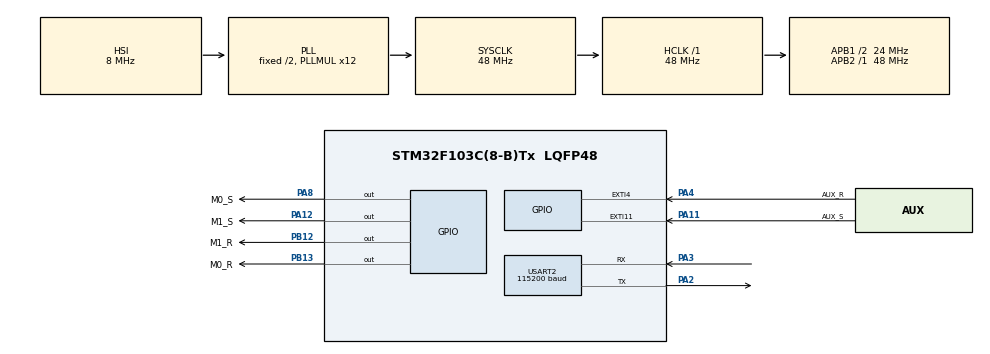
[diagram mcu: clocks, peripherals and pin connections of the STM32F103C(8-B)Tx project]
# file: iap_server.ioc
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Dma.Request0=USART2_RX
Dma.Request1=USART2_TX
Dma.USART2_RX.0.Direction=DMA_PERIPH_TO_MEMORY
Dma.USART2_RX.0.Instance=DMA1_Channel6
Dma.USART2_RX.0.MemDataAlignment=DMA_MDATAALIGN_BYTE
Dma.USART2_RX.0.MemInc=DMA_MINC_ENABLE
Dma.USART2_RX.0.Mode=DMA_CIRCULAR
Dma.USART2_RX.0.PeriphDataAlignment=DMA_PDATAALIGN_BYTE
Dma.USART2_RX.0.PeriphInc=DMA_PINC_DISABLE
Dma.USART2_RX.0.Priority=DMA_PRIORITY_LOW
Dma.USART2_TX.1.Direction=DMA_MEMORY_TO_PERIPH
Dma.USART2_TX.1.Instance=DMA1_Channel7
Dma.USART2_TX.1.MemDataAlignment=DMA_MDATAALIGN_BYTE
Dma.USART2_TX.1.MemInc=DMA_MINC_ENABLE
Dma.USART2_TX.1.Mode=DMA_NORMAL
Dma.USART2_TX.1.PeriphDataAlignment=DMA_PDATAALIGN_BYTE
Dma.USART2_TX.1.PeriphInc=DMA_PINC_DISABLE
Dma.USART2_TX.1.Priority=DMA_PRIORITY_LOW
IWDG.Prescaler=IWDG_PRESCALER_64
IWDG.Reload=2500
Mcu.Family=STM32F1
Mcu.Name=STM32F103C(8-B)Tx
Mcu.Package=LQFP48
NVIC.DMA1_Channel6_IRQn=true\:0\:0\:false\:false\:true\:false
NVIC.DMA1_Channel7_IRQn=true\:0\:0\:false\:false\:true\:false
NVIC.EXTI15_10_IRQn=true\:0\:0\:false\:false\:true\:true
NVIC.EXTI4_IRQn=true\:0\:0\:false\:false\:true\:true
NVIC.FLASH_IRQn=true\:0\:0\:false\:false\:true\:true
NVIC.PriorityGroup=NVIC_PRIORITYGROUP_4
NVIC.USART2_IRQn=true\:0\:0\:false\:false\:true\:true
PA11.GPIO_Label=AUX_S
PA11.Signal=GPXTI11
PA12.GPIO_Label=M1_S
PA12.Signal=GPIO_Output
PA13.Mode=Serial_Wire
PA13.Signal=SYS_JTMS-SWDIO
PA14.Mode=Serial_Wire
PA14.Signal=SYS_JTCK-SWCLK
PA2.Mode=Asynchronous
PA2.Signal=USART2_TX
PA3.Mode=Asynchronous
PA3.Signal=USART2_RX
PA4.GPIO_Label=AUX_R
PA4.Signal=GPXTI4
PA8.GPIO_Label=M0_S
PA8.Signal=GPIO_Output
PB12.GPIO_Label=M1_R
PB12.Signal=GPIO_Output
PB13.GPIO_Label=M0_R
PB13.Signal=GPIO_Output
ProjectManager.HeapSize=0x1000
ProjectManager.StackSize=0x400
ProjectManager.TargetToolchain=EWARM V7
RCC.AHBFreq_Value=48000000
RCC.APB1CLKDivider=RCC_HCLK_DIV2
RCC.APB1Freq_Value=24000000
RCC.APB1TimFreq_Value=48000000
RCC.APB2Freq_Value=48000000
RCC.APB2TimFreq_Value=48000000
RCC.HCLKFreq_Value=48000000
RCC.PLLMUL=RCC_PLL_MUL12
RCC.SYSCLKFreq_VALUE=48000000
RCC.SYSCLKSource=RCC_SYSCLKSOURCE_PLLCLK
RCC.USBFreq_Value=48000000
USART2.BaudRate=115200
USART2.VirtualMode=VM_ASYNC
VP_IWDG_VS_IWDG.Mode=IWDG_Activate
board=custom

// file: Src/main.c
/**
  ******************************************************************************
  * @file           : main.c
  * @brief          : Main program body
  ******************************************************************************
  ** This notice applies to any and all portions of this file
  * that are not between comment pairs USER CODE BEGIN and
  * USER CODE END. Other portions of this file, whether
  * inserted by the user or by software development tools
  * are owned by their respective copyright owners.
  *
  * COPYRIGHT(c) 2019 STMicroelectronics
  *
  * Redistribution and use in source and binary forms, with or without modification,
  * are permitted provided that the following conditions are met:
  *   1. Redistributions of source code must retain the above copyright notice,
  *      this list of conditions and the following disclaimer.
  *   2. Redistributions in binary form must reproduce the above copyright notice,
  *      this list of conditions and the following disclaimer in the documentation
  *      and/or other materials provided with the distribution.
  *   3. Neither the name of STMicroelectronics nor the names of its contributors
  *      may be used to endorse or promote products derived from this software
  *      without specific prior written permission.
  *
  * THIS SOFTWARE IS PROVIDED BY THE COPYRIGHT HOLDERS AND CONTRIBUTORS "AS IS"
  * AND ANY EXPRESS OR IMPLIED WARRANTIES, INCLUDING, BUT NOT LIMITED TO, THE
  * IMPLIED WARRANTIES OF MERCHANTABILITY AND FITNESS FOR A PARTICULAR PURPOSE ARE
  * DISCLAIMED. IN NO EVENT SHALL THE COPYRIGHT HOLDER OR CONTRIBUTORS BE LIABLE
  * FOR ANY DIRECT, INDIRECT, INCIDENTAL, SPECIAL, EXEMPLARY, OR CONSEQUENTIAL
  * DAMAGES (INCLUDING, BUT NOT LIMITED TO, PROCUREMENT OF SUBSTITUTE GOODS OR
  * SERVICES; LOSS OF USE, DATA, OR PROFITS; OR BUSINESS INTERRUPTION) HOWEVER
  * CAUSED AND ON ANY THEORY OF LIABILITY, WHETHER IN CONTRACT, STRICT LIABILITY,
  * OR TORT (INCLUDING NEGLIGENCE OR OTHERWISE) ARISING IN ANY WAY OUT OF THE USE
  * OF THIS SOFTWARE, EVEN IF ADVISED OF THE POSSIBILITY OF SUCH DAMAGE.
  *
  ******************************************************************************
  */
#include "main.h"
#include "stm32f1xx_hal.h"

/* USER CODE BEGIN Includes */
#include "flash_if.h"
#include "md5sum.h"
#include "string.h"
#include "stdlib.h"
/* USER CODE END Includes */

IWDG_HandleTypeDef hiwdg;

UART_HandleTypeDef huart2;
DMA_HandleTypeDef hdma_usart2_rx;
DMA_HandleTypeDef hdma_usart2_tx;

/* USER CODE BEGIN PV */
/* Private variables ---------------------------------------------------------*/
T_BootConfig g_stBootConfig;
pFunction Jump_To_Application;
uint32_t JumpAddress;

#define DMA_RX_BUFFER_SIZE          64
uint8_t DMA_RX_Buffer[DMA_RX_BUFFER_SIZE];

#define UART_BUFFER_SIZE            1280
uint8_t UART_Buffer[UART_BUFFER_SIZE];

uint32_t Uart_Read = 0;
volatile uint32_t Uart_Write = 0;

DMA_Event_t dma_uart_rx = {DMA_RX_BUFFER_SIZE, 0, 0};

#pragma pack(1)
typedef struct
{
  uint8_t resp_code;
  uint32_t identity;
  uint16_t endpointId;
  uint32_t data;
  uint8_t crc;
}T_Resp_Info;

#pragma pack()

typedef enum
{
  PHASE_CONFIG = 0,
  PHASE_DATA = 1

}T_Update_Phase;

uint32_t g_UpdatePhase = PHASE_CONFIG;

typedef struct
{
  uint8_t  ucBinMd5[MD5_LEN];
  uint8_t  ucFWVer[VERSION_LEN];
  uint32_t uiTotalLen;
}T_FWF103Head;

T_FWF103Head stFwF103Head;
uint32_t uiDlFinSize = 0;
uint32_t uiPerWriteSize = FLASH_PAGE_SIZE;
uint8_t md5_temp[MD5_LEN];
/* USER CODE END PV */

void SystemClock_Config(void);
static void MX_GPIO_Init(void);
static void MX_DMA_Init(void);
static void MX_USART2_UART_Init(void);
static void MX_IWDG_Init(void);

/* USER CODE BEGIN PFP */
/* Private function prototypes -----------------------------------------------*/

/* USER CODE END PFP */

/* USER CODE BEGIN 0 */
uint8_t crc8_chk_value(uint8_t *message, uint8_t len)
{
  uint8_t crc;
  uint8_t i;
  crc = 0;
  while(len--)
  {
    crc ^= *message++;
    for(i = 0;i < 8;i++)
    {
      if(crc & 0x01)
      {
        crc = (crc >> 1) ^ 0x8c;
      }
      else crc >>= 1;
    }
  }
  return crc;
}

void initUart2(void)
{
//  MX_GPIO_Init();
//  MX_DMA_Init();
//  MX_USART2_UART_Init();

  __HAL_UART_ENABLE_IT(&huart2, UART_IT_IDLE); // enable idle line interrupt
  __HAL_UART_CLEAR_IDLEFLAG(&huart2);

  HAL_UART_Receive_DMA(&huart2, DMA_RX_Buffer, DMA_RX_BUFFER_SIZE);

//  UART_Buffer = (uint8_t *)malloc(UART_BUFFER_SIZE);

  HAL_Delay(1000);
}
/* USER CODE END 0 */

int main(void)
{
  /* USER CODE BEGIN 1 */
  FLASH_If_Init();

  /* USER CODE END 1 */

  /* MCU Configuration----------------------------------------------------------*/

  /* Reset of all peripherals, Initializes the Flash interface and the Systick. */
  HAL_Init();

  /* Configure the system clock */
  SystemClock_Config();

  /* Initialize all configured peripherals */
  MX_GPIO_Init();
  MX_DMA_Init();
  MX_USART2_UART_Init();
  MX_IWDG_Init();
  /* USER CODE BEGIN 2 */

  memcpy(&g_stBootConfig, (char *)BOOT_CONFIG_ADDR, sizeof(T_BootConfig));

  if(TYPE_LOCAL == g_stBootConfig.ucBootType)
  {
    if(g_stBootConfig.ucTryTimes >= 10)
    {
      initUart2();

      HAL_IWDG_Refresh(&hiwdg);
      FLASH_If_Erase_App();

      T_Resp_Info stReqRec;

      stReqRec.resp_code = 132;
      stReqRec.endpointId = 0;
      stReqRec.identity = 0;
      stReqRec.data = 0;
      stReqRec.crc = crc8_chk_value((uint8_t *)&stReqRec, 11);

      while((&huart2)->gState != HAL_UART_STATE_READY);
      HAL_UART_Transmit_DMA(&huart2, (uint8_t *)&stReqRec, sizeof(T_Resp_Info));

    }
    else
    {
      if (((*(__IO uint32_t*)APPLICATION_ADDR) & 0x2FFE0000 ) == 0x20000000)
      {
        if(g_stBootConfig.ucBootSeccessFlg == 0)
        {
          g_stBootConfig.ucTryTimes++;

          HAL_IWDG_Refresh(&hiwdg);
          FLASH_If_Erase_Config();

          HAL_IWDG_Refresh(&hiwdg);
          FLASH_If_Write(BOOT_CONFIG_ADDR, (uint32_t*)(&g_stBootConfig), sizeof(T_BootConfig));
        }

        /* Jump to user application */
        JumpAddress = *(__IO uint32_t*) (APPLICATION_ADDR + 4);
        Jump_To_Application = (pFunction) JumpAddress;
        /* Initialize user application's Stack Pointer */
        __set_MSP(*(__IO uint32_t*) APPLICATION_ADDR);
        Jump_To_Application();
      }
      else
      {
        initUart2();

        HAL_IWDG_Refresh(&hiwdg);
        FLASH_If_Erase_App();

        T_Resp_Info stReqRec;

        stReqRec.resp_code = 132;
        stReqRec.endpointId = 0;
        stReqRec.identity = 0;
        stReqRec.data = 0;
        stReqRec.crc = crc8_chk_value((uint8_t *)&stReqRec, 11);

        while((&huart2)->gState != HAL_UART_STATE_READY);
        HAL_UART_Transmit_DMA(&huart2, (uint8_t *)&stReqRec, sizeof(T_Resp_Info));
      }
    }
  }
  else if(TYPE_UART2== g_stBootConfig.ucBootType)
  {
    initUart2();

    HAL_IWDG_Refresh(&hiwdg);
    FLASH_If_Erase_App();

    T_Resp_Info stReqUpdate;
    stReqUpdate.resp_code = 131;
    stReqUpdate.endpointId = 0;
    stReqUpdate.identity = 0;
    stReqUpdate.data = 0;
    stReqUpdate.crc = crc8_chk_value((uint8_t *)&stReqUpdate, 11);

    while((&huart2)->gState != HAL_UART_STATE_READY);
    HAL_UART_Transmit_DMA(&huart2, (uint8_t *)&stReqUpdate, sizeof(T_Resp_Info));

  }
  else
  {
    //ERROR
  }
  /* USER CODE END 2 */

  /* Infinite loop */
  /* USER CODE BEGIN WHILE */

  uiDlFinSize = 0;
  uiPerWriteSize = FLASH_PAGE_SIZE;

  while (1)
  {
    uint32_t tmpWrite = Uart_Write;
    while (Uart_Read != tmpWrite)
    {
      if(PHASE_CONFIG == g_UpdatePhase)
      {
        if(tmpWrite - Uart_Read >= sizeof(T_FWF103Head))
        {
          memcpy(&stFwF103Head, UART_Buffer+Uart_Read, sizeof(T_FWF103Head));

          Uart_Read += sizeof(T_FWF103Head);

          g_UpdatePhase = PHASE_DATA;
        }
      }
      else if(PHASE_DATA == g_UpdatePhase)
      {
        uint32_t uiDataLen = 0;
        if(tmpWrite > Uart_Read)
        {
          uiDataLen = tmpWrite - Uart_Read;
        }
        else
        {
          uiDataLen = UART_BUFFER_SIZE - Uart_Read + tmpWrite;
        }

        uiPerWriteSize = (0 == (stFwF103Head.uiTotalLen - uiDlFinSize) / FLASH_PAGE_SIZE ? (stFwF103Head.uiTotalLen - uiDlFinSize) % FLASH_PAGE_SIZE : FLASH_PAGE_SIZE);
        if(uiDataLen < uiPerWriteSize)
        {
          break;
        }
        else
        {
          char *pData = (char *)malloc(uiPerWriteSize);
          if(NULL == pData)
          {
            //error
          }

          if(tmpWrite > Uart_Read)
          {
            memcpy((char *)pData, &UART_Buffer[Uart_Read], uiPerWriteSize);
            Uart_Read += uiPerWriteSize;

          }
          else
          {

            uiDataLen = UART_BUFFER_SIZE - Uart_Read;
            if(uiDataLen >= uiPerWriteSize)
            {
              memcpy((char *)pData, &UART_Buffer[Uart_Read], uiPerWriteSize);

              Uart_Read += uiPerWriteSize;
              if(Uart_Read == UART_BUFFER_SIZE)
              {
                Uart_Read = 0;
              }
            }
            else
            {
              memcpy((char *)pData, &UART_Buffer[Uart_Read], UART_BUFFER_SIZE - Uart_Read);
              memcpy((char *)(pData + UART_BUFFER_SIZE - Uart_Read), &UART_Buffer[0], uiPerWriteSize - (UART_BUFFER_SIZE - Uart_Read));

              Uart_Read = uiPerWriteSize - (UART_BUFFER_SIZE - Uart_Read);
            }
          }

          HAL_IWDG_Refresh(&hiwdg);
          FLASH_If_Write(APPLICATION_ADDR + uiDlFinSize, (uint32_t *)pData, uiPerWriteSize);
          if(NULL != pData)
          {
            free(pData);
            pData = NULL;
          }

          uiDlFinSize += uiPerWriteSize;

          if(uiDlFinSize == stFwF103Head.uiTotalLen)
          {
            md5sum(md5_temp, (uint8_t  *)APPLICATION_ADDR, stFwF103Head.uiTotalLen);
            if(0 == memcmp(md5_temp, stFwF103Head.ucBinMd5, MD5_LEN))
            {
              strcpy((char *)g_stBootConfig.ucNewFWVer, (char *)stFwF103Head.ucFWVer);
              g_stBootConfig.ucBootSeccessFlg = 0;
              g_stBootConfig.ucTryTimes = 0;
              g_stBootConfig.ucBootType = TYPE_LOCAL;

              HAL_IWDG_Refresh(&hiwdg);
              FLASH_If_Erase_Config();

              HAL_IWDG_Refresh(&hiwdg);
              FLASH_If_Write(BOOT_CONFIG_ADDR, (uint32_t*)(&g_stBootConfig), sizeof(T_BootConfig));

              NVIC_SystemReset();
            }
            else
            {
              HAL_IWDG_Refresh(&hiwdg);
              FLASH_If_Erase_App();

              T_Resp_Info stReqRec;

              stReqRec.resp_code = 132;
              stReqRec.endpointId = 0;
              stReqRec.identity = 0;
              stReqRec.data = 0;
              stReqRec.crc = crc8_chk_value((uint8_t *)&stReqRec, 11);

              while((&huart2)->gState != HAL_UART_STATE_READY);
              HAL_UART_Transmit_DMA(&huart2, (uint8_t *)&stReqRec, sizeof(T_Resp_Info));
            }

          }
        }
      }
    }

  /* USER CODE END WHILE */

  }

}

void SystemClock_Config(void)
{

  RCC_OscInitTypeDef RCC_OscInitStruct;
  RCC_ClkInitTypeDef RCC_ClkInitStruct;

    /**Initializes the CPU, AHB and APB busses clocks
    */
  RCC_OscInitStruct.OscillatorType = RCC_OSCILLATORTYPE_HSI|RCC_OSCILLATORTYPE_LSI;
  RCC_OscInitStruct.HSIState = RCC_HSI_ON;
  RCC_OscInitStruct.HSICalibrationValue = 16;
  RCC_OscInitStruct.LSIState = RCC_LSI_ON;
  RCC_OscInitStruct.PLL.PLLState = RCC_PLL_ON;
  RCC_OscInitStruct.PLL.PLLSource = RCC_PLLSOURCE_HSI_DIV2;
  RCC_OscInitStruct.PLL.PLLMUL = RCC_PLL_MUL12;
  if (HAL_RCC_OscConfig(&RCC_OscInitStruct) != HAL_OK)
  {
    _Error_Handler(__FILE__, __LINE__);
  }

    /**Initializes the CPU, AHB and APB busses clocks
    */
  RCC_ClkInitStruct.ClockType = RCC_CLOCKTYPE_HCLK|RCC_CLOCKTYPE_SYSCLK
                              |RCC_CLOCKTYPE_PCLK1|RCC_CLOCKTYPE_PCLK2;
  RCC_ClkInitStruct.SYSCLKSource = RCC_SYSCLKSOURCE_PLLCLK;
  RCC_ClkInitStruct.AHBCLKDivider = RCC_SYSCLK_DIV1;
  RCC_ClkInitStruct.APB1CLKDivider = RCC_HCLK_DIV2;
  RCC_ClkInitStruct.APB2CLKDivider = RCC_HCLK_DIV1;

  if (HAL_RCC_ClockConfig(&RCC_ClkInitStruct, FLASH_LATENCY_1) != HAL_OK)
  {
    _Error_Handler(__FILE__, __LINE__);
  }

    /**Configure the Systick interrupt time
    */
  HAL_SYSTICK_Config(HAL_RCC_GetHCLKFreq()/1000);

    /**Configure the Systick
    */
  HAL_SYSTICK_CLKSourceConfig(SYSTICK_CLKSOURCE_HCLK);

  /* SysTick_IRQn interrupt configuration */
  HAL_NVIC_SetPriority(SysTick_IRQn, 0, 0);
}

/* IWDG init function */
static void MX_IWDG_Init(void)
{

  hiwdg.Instance = IWDG;
  hiwdg.Init.Prescaler = IWDG_PRESCALER_64;
  hiwdg.Init.Reload = 2500;
  if (HAL_IWDG_Init(&hiwdg) != HAL_OK)
  {
    _Error_Handler(__FILE__, __LINE__);
  }

}

/* USART2 init function */
static void MX_USART2_UART_Init(void)
{

  huart2.Instance = USART2;
  huart2.Init.BaudRate = 115200;
  huart2.Init.WordLength = UART_WORDLENGTH_8B;
  huart2.Init.StopBits = UART_STOPBITS_1;
  huart2.Init.Parity = UART_PARITY_NONE;
  huart2.Init.Mode = UART_MODE_TX_RX;
  huart2.Init.HwFlowCtl = UART_HWCONTROL_NONE;
  huart2.Init.OverSampling = UART_OVERSAMPLING_16;
  if (HAL_UART_Init(&huart2) != HAL_OK)
  {
    _Error_Handler(__FILE__, __LINE__);
  }

}

static void MX_DMA_Init(void)
{
  /* DMA controller clock enable */
  __HAL_RCC_DMA1_CLK_ENABLE();

  /* DMA interrupt init */
  /* DMA1_Channel6_IRQn interrupt configuration */
  HAL_NVIC_SetPriority(DMA1_Channel6_IRQn, 0, 0);
  HAL_NVIC_EnableIRQ(DMA1_Channel6_IRQn);
  /* DMA1_Channel7_IRQn interrupt configuration */
  HAL_NVIC_SetPriority(DMA1_Channel7_IRQn, 0, 0);
  HAL_NVIC_EnableIRQ(DMA1_Channel7_IRQn);

}

/** Configure pins as
        * Analog
        * Input
        * Output
        * EVENT_OUT
        * EXTI
*/
static void MX_GPIO_Init(void)
{

  GPIO_InitTypeDef GPIO_InitStruct;

  /* GPIO Ports Clock Enable */
  __HAL_RCC_GPIOA_CLK_ENABLE();
  __HAL_RCC_GPIOB_CLK_ENABLE();

  /*Configure GPIO pin Output Level */
  HAL_GPIO_WritePin(GPIOB, M1_R_Pin|M0_R_Pin, GPIO_PIN_RESET);

  /*Configure GPIO pin Output Level */
  HAL_GPIO_WritePin(GPIOA, M0_S_Pin|M1_S_Pin, GPIO_PIN_RESET);

  /*Configure GPIO pins : AUX_R_Pin AUX_S_Pin */
  GPIO_InitStruct.Pin = AUX_R_Pin|AUX_S_Pin;
  GPIO_InitStruct.Mode = GPIO_MODE_IT_RISING;
  GPIO_InitStruct.Pull = GPIO_NOPULL;
  HAL_GPIO_Init(GPIOA, &GPIO_InitStruct);

  /*Configure GPIO pins : M1_R_Pin M0_R_Pin */
  GPIO_InitStruct.Pin = M1_R_Pin|M0_R_Pin;
  GPIO_InitStruct.Mode = GPIO_MODE_OUTPUT_PP;
  GPIO_InitStruct.Pull = GPIO_NOPULL;
  GPIO_InitStruct.Speed = GPIO_SPEED_FREQ_LOW;
  HAL_GPIO_Init(GPIOB, &GPIO_InitStruct);

  /*Configure GPIO pins : M0_S_Pin M1_S_Pin */
  GPIO_InitStruct.Pin = M0_S_Pin|M1_S_Pin;
  GPIO_InitStruct.Mode = GPIO_MODE_OUTPUT_PP;
  GPIO_InitStruct.Pull = GPIO_NOPULL;
  GPIO_InitStruct.Speed = GPIO_SPEED_FREQ_LOW;
  HAL_GPIO_Init(GPIOA, &GPIO_InitStruct);

  /* EXTI interrupt init*/
  HAL_NVIC_SetPriority(EXTI4_IRQn, 0, 0);
  HAL_NVIC_EnableIRQ(EXTI4_IRQn);

  HAL_NVIC_SetPriority(EXTI15_10_IRQn, 0, 0);
  HAL_NVIC_EnableIRQ(EXTI15_10_IRQn);

}

/* USER CODE BEGIN 4 */
void HAL_UART_RxCpltCallback(UART_HandleTypeDef *huart)
{

  uint32_t start, length;

  uint32_t currCNDTR = __HAL_DMA_GET_COUNTER(huart->hdmarx);

  /* Ignore IDLE Timeout when the received characters exactly filled up the DMA buffer and DMA Rx Complete IT is generated, but there is no new character during timeout */
  if(dma_uart_rx.flag && currCNDTR == DMA_RX_BUFFER_SIZE)
  {
      dma_uart_rx.flag = 0;
      return;
  }

  /* Determine start position in DMA buffer based on previous CNDTR value */
  start = (dma_uart_rx.prevCNDTR < DMA_RX_BUFFER_SIZE) ? (DMA_RX_BUFFER_SIZE - dma_uart_rx.prevCNDTR) : 0;
  //start = DMA_RX_BUFFER_SIZE - dma_uart_rx.prevCNDTR;

  if(dma_uart_rx.flag)    /* Timeout event */
  {
      /* Determine new data length based on previous DMA_CNDTR value:
       *  If previous CNDTR is less than DMA buffer size: there is old data in DMA buffer (from previous timeout) that has to be ignored.
       *  If CNDTR == DMA buffer size: entire buffer content is new and has to be processed.
      */

      length = (dma_uart_rx.prevCNDTR < DMA_RX_BUFFER_SIZE) ? (dma_uart_rx.prevCNDTR - currCNDTR) : (DMA_RX_BUFFER_SIZE - currCNDTR);
      //length = dma_uart_rx.prevCNDTR - currCNDTR;
      dma_uart_rx.prevCNDTR = currCNDTR;
      dma_uart_rx.flag = 0;
  }
  else                /* DMA Rx Complete event */
  {
      length = DMA_RX_BUFFER_SIZE - start;
      dma_uart_rx.prevCNDTR = DMA_RX_BUFFER_SIZE;
  }

  uint32_t tocopy;
  uint8_t* ptr;

  tocopy = UART_BUFFER_SIZE - Uart_Write;      /* Get number of bytes we can copy to the end of buffer */

  /* Check how many bytes to copy */
  if (tocopy > length)
  {
    tocopy = length;
  }

  /* Uart_Write received data for UART main buffer for manipulation later */
  ptr = DMA_RX_Buffer+start;
  memcpy(&UART_Buffer[Uart_Write], ptr, tocopy);   /* Copy first part */

  /* Correct values for remaining data */
  Uart_Write += tocopy;
  length -= tocopy;
  ptr += tocopy;

  /* If still data to write for beginning of buffer */
  if (length)
  {
    memcpy(&UART_Buffer[0], ptr, length);      /* Don't care if we override Uart_Read pointer now */
    Uart_Write = length;
  }

  if(UART_BUFFER_SIZE == Uart_Write)
  {
    Uart_Write = 0;
  }
}

void HAL_UART_TxCpltCallback(UART_HandleTypeDef *huart)
{
}

/* USER CODE END 4 */

void _Error_Handler(char *file, int line)
{
  while(1)
  {
  }
}

/************************ (C) COPYRIGHT STMicroelectronics *****END OF FILE****/
